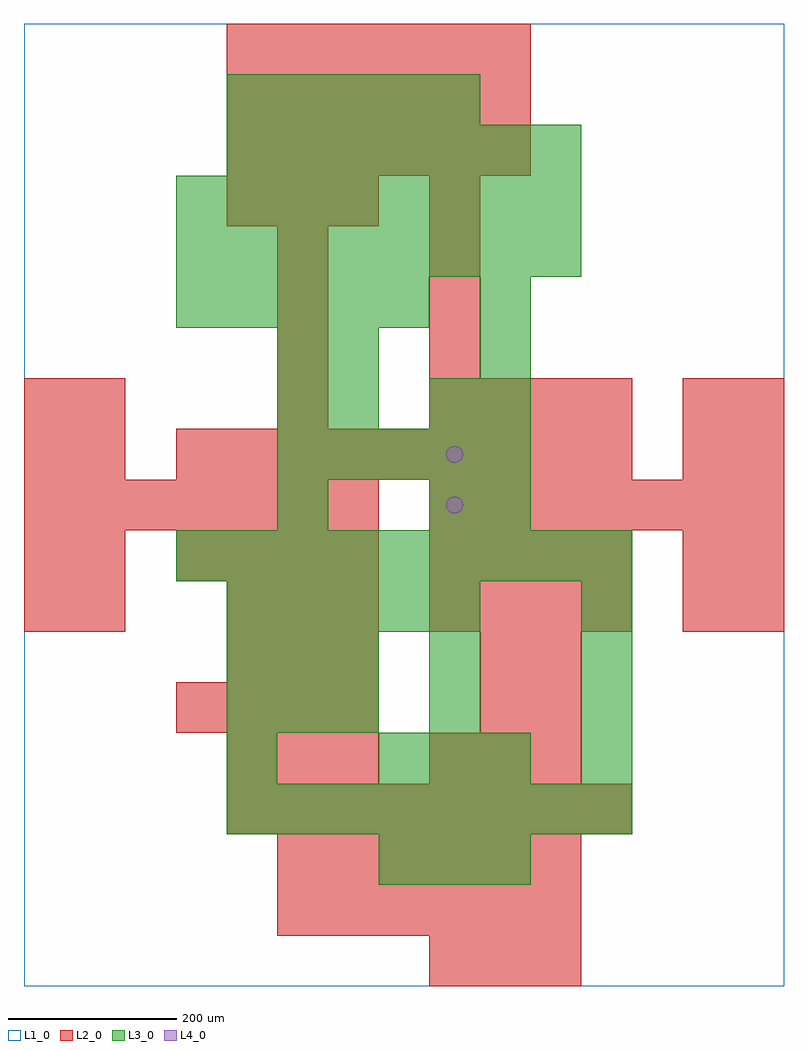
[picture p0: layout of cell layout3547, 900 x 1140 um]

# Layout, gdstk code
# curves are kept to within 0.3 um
import gdstk
lib = gdstk.Library(unit=1e-6, precision=1e-09)
def R(c, l, rs):  # rectangles x0, y0, x1, y1
    for r in rs: c.add(gdstk.rectangle(r[:2], r[2:], *l))
def A(c, l, x, y, w, h, nx, ny, dx, dy):  # array of equal rectangles
    R(c, l, [(x+i*dx, y+j*dy, x+i*dx+w, y+j*dy+h) for i in range(nx) for j in range(ny)])
def P(c, l, *ps):  # polygons
    for p in ps: c.add(gdstk.Polygon(p, *l))
L1_0 = (1, 0)
L2_0 = (2, 0)
L3_0 = (3, 0)
L4_0 = (4, 0)

layout3547 = lib.new_cell('layout3547')
R(layout3547, L1_0, [(0,0,900,1140)])
A(layout3547, L2_0, 480, 0, 60, 60, 3, 2, 60, 240)
A(layout3547, L2_0, 300, 60, 60, 60, 6, 2, 60, 60)
A(layout3547, L2_0, 240, 180, 60, 60, 8, 1, 60, 0)
A(layout3547, L2_0, 240, 240, 60, 60, 3, 2, 60, 120)
A(layout3547, L2_0, 180, 300, 60, 60, 4, 2, 60, 180)
A(layout3547, L2_0, 240, 420, 60, 60, 3, 2, 60, 480)
A(layout3547, L2_0, 480, 420, 60, 60, 4, 2, 60, 60)
A(layout3547, L2_0, 0, 540, 60, 60, 7, 1, 60, 0)
A(layout3547, L2_0, 480, 540, 60, 60, 7, 1, 60, 0)
A(layout3547, L2_0, 180, 600, 60, 60, 9, 1, 60, 0)
A(layout3547, L2_0, 300, 660, 60, 60, 1, 4, 0, 60)
A(layout3547, L2_0, 480, 660, 60, 60, 4, 1, 60, 0)
A(layout3547, L2_0, 480, 720, 60, 60, 1, 4, 0, 60)
A(layout3547, L2_0, 240, 960, 60, 60, 6, 3, 60, 60)
R(layout3547, L2_0, [(540,300,600,360), (600,300,660,360), (540,360,600,420), (600,360,660,420), (0,420,60,480), (60,420,120,480), (780,420,840,480), (840,420,900,480), (0,480,60,540), (60,480,120,540), (780,480,840,540), (840,480,900,540), (0,600,60,660), (60,600,120,660), (780,600,840,660), (840,600,900,660), (0,660,60,720), (60,660,120,720), (780,660,840,720), (840,660,900,720)])
A(layout3547, L3_0, 420, 120, 60, 60, 3, 2, 60, 120)
A(layout3547, L3_0, 240, 180, 60, 60, 8, 1, 60, 0)
A(layout3547, L3_0, 660, 240, 60, 60, 1, 4, 0, 60)
A(layout3547, L3_0, 240, 300, 60, 60, 3, 2, 60, 60)
A(layout3547, L3_0, 240, 420, 60, 60, 5, 2, 60, 600)
A(layout3547, L3_0, 180, 480, 60, 60, 9, 1, 60, 0)
A(layout3547, L3_0, 300, 600, 60, 60, 5, 1, 60, 0)
A(layout3547, L3_0, 540, 660, 60, 60, 1, 3, 0, 60)
A(layout3547, L3_0, 180, 780, 60, 60, 5, 1, 60, 0)
A(layout3547, L3_0, 180, 840, 60, 60, 8, 2, 60, 60)
A(layout3547, L3_0, 240, 960, 60, 60, 7, 1, 60, 0)
R(layout3547, L3_0, [(240,240,300,300), (480,300,540,360), (480,360,540,420), (300,540,360,600), (480,540,540,600), (540,540,600,600), (300,660,360,720), (360,660,420,720), (480,660,540,720), (300,720,360,780), (360,720,420,780)])
P(layout3547, L4_0, [(520,570),(519.239,573.827),(517.071,577.071),(513.827,579.239),(510,580),(506.173,579.239),(502.929,577.071),(500.761,573.827),(500,570),(500.761,566.173),(502.929,562.929),(506.173,560.761),(510,560),(513.827,560.761),(517.071,562.929),(519.239,566.173)],
  [(520,630),(519.239,633.827),(517.071,637.071),(513.827,639.239),(510,640),(506.173,639.239),(502.929,637.071),(500.761,633.827),(500,630),(500.761,626.173),(502.929,622.929),(506.173,620.761),(510,620),(513.827,620.761),(517.071,622.929),(519.239,626.173)])

lib.write_gds('layout3547.gds')
